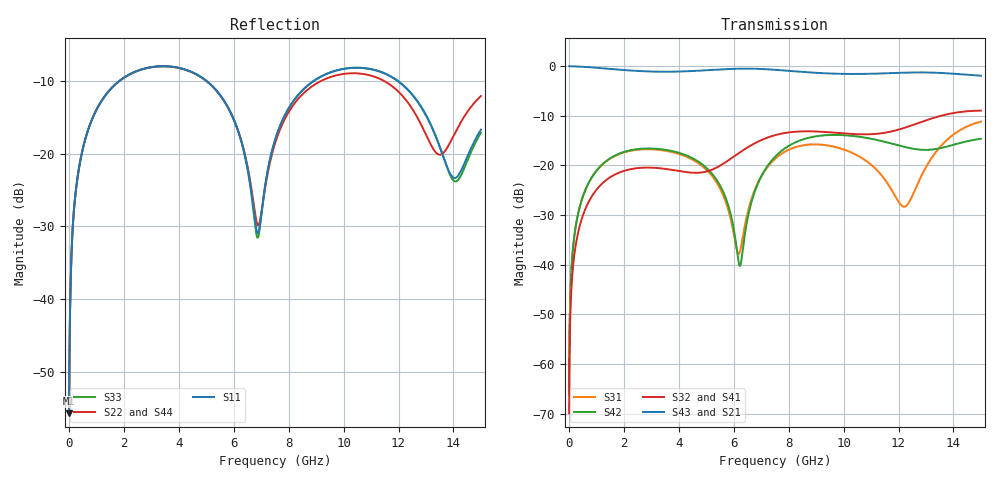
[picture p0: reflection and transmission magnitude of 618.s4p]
! Created with skrf 1.8.0 (http://scikit-rf.org).
# GHz S RI R 50.0
!freq ReS11 ImS11 ReS12 ImS12 ReS13 ImS13
! ReS14 ImS14
! ReS21 ImS21 ReS22 ImS22 ReS23 ImS23
! ReS24 ImS24
! ReS31 ImS31 ReS32 ImS32 ReS33 ImS33
! ReS34 ImS34
! ReS41 ImS41 ReS42 ImS42 ReS43 ImS43
! ReS44 ImS44
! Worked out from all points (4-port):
!   2499 points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, 5 MHz to 15 GHz, reference 50 ohm
!   strongest paths, dB at 5 MHz, 3.476 GHz, 7.19 GHz, 11.1 GHz, 15 GHz:
!     S43: 0.0, -1.1, -0.6, -1.5, -1.9
!     S21: 0.0, -1.1, -0.6, -1.5, -1.9
!     S32: -69.9, -20.7, -14.5, -13.7, -9.0
!     S41: -69.9, -20.7, -14.5, -13.7, -9.0
!     S42: -66.0, -16.8, -20.4, -14.7, -14.6
!     S31: -66.0, -17.0, -20.6, -20.3, -11.2
!   lowest |S11| = -55.7 dB at 5 MHz (marker M1), VSWR 1.00, Z = 50.1 + j0.1 ohm
!   |S11| at or under -10 dB: start of sweep to 1.842 GHz; 5.003 GHz to 8.922 GHz (3.919 GHz wide, 56.3 % of centre); 11.96 GHz to end of sweep
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0.005  0.00131 0.001  0.9987 -0.00255  6.4e-05 0.000495  -6.24e-05 -0.000313
       0.9987 -0.00255  0.00131 0.001  -6.24e-05 -0.000313  6.41e-05 0.000495
       6.4e-05 0.000495  -6.24e-05 -0.000313  0.00131 0.001  0.9987 -0.00255
       -6.24e-05 -0.000313  6.41e-05 0.000495  0.9987 -0.00255  0.00131 0.001
0.4126719  0.0251 0.0859  0.9653 -0.2084  0.0113 0.0385  -0.00954 -0.0241
           0.9653 -0.2084  0.025 0.0859  -0.00954 -0.0241  0.0116 0.0385
           0.0113 0.0385  -0.00954 -0.0241  0.0251 0.0859  0.9653 -0.2084
           -0.00954 -0.0241  0.0116 0.0385  0.9653 -0.2084  0.0251 0.0859
1.925802  0.2689 0.1823  0.5558 -0.7283  0.1186 0.0609  -0.0864 -0.00741
          0.5558 -0.7283  0.2676 0.1833  -0.0864 -0.00741  0.1224 0.0558
          0.1186 0.0609  -0.0864 -0.00741  0.2689 0.1823  0.5558 -0.7283
          -0.0864 -0.00741  0.1224 0.0558  0.5558 -0.7283  0.2676 0.1833
6.221342  0.0615 -0.1167  -0.8765 -0.3437  -0.0134 0.000428  -0.0458 0.1273
          -0.8765 -0.3437  0.0661 -0.1152  -0.046 0.1272  -0.00969 -0.000776
          -0.0134 0.000428  -0.046 0.1272  0.0598 -0.1163  -0.8766 -0.3436
          -0.0458 0.1273  -0.00969 -0.000776  -0.8766 -0.3436  0.0671 -0.1139
6.827845  0.028 -0.0103  -0.9367 -0.0708  -0.00733 0.0619  -0.00875 0.1703
          -0.9367 -0.0708  0.0319 -0.0127  -0.00907 0.1704  0.0092 0.0599
          -0.00733 0.0619  -0.00907 0.1704  0.0262 -0.00929  -0.9367 -0.0707
          -0.00875 0.1703  0.0092 0.0599  -0.9367 -0.0707  0.0336 -0.0116
10.87328  0.3747 -0.082  0.0978 0.8307  0.107 -0.0182  0.1924 -0.0723
          0.0978 0.8307  0.3445 -0.0482  0.1925 -0.0723  0.0909 -0.1652
          0.107 -0.0182  0.1925 -0.0723  0.3757 -0.0801  0.0968 0.8305
          0.1924 -0.0723  0.0909 -0.1652  0.0968 0.8305  0.3454 -0.0496
15  0.1264 0.0731  0.7295 -0.3284  0.2453 0.1264  -0.1879 -0.302
    0.7295 -0.3284  0.2179 0.1196  -0.1875 -0.3032  0.0644 0.1739
    0.2453 0.1264  -0.1875 -0.3032  0.1189 0.0724  0.7316 -0.3256
    -0.1879 -0.302  0.0644 0.1739  0.7316 -0.3256  0.2205 0.1135
